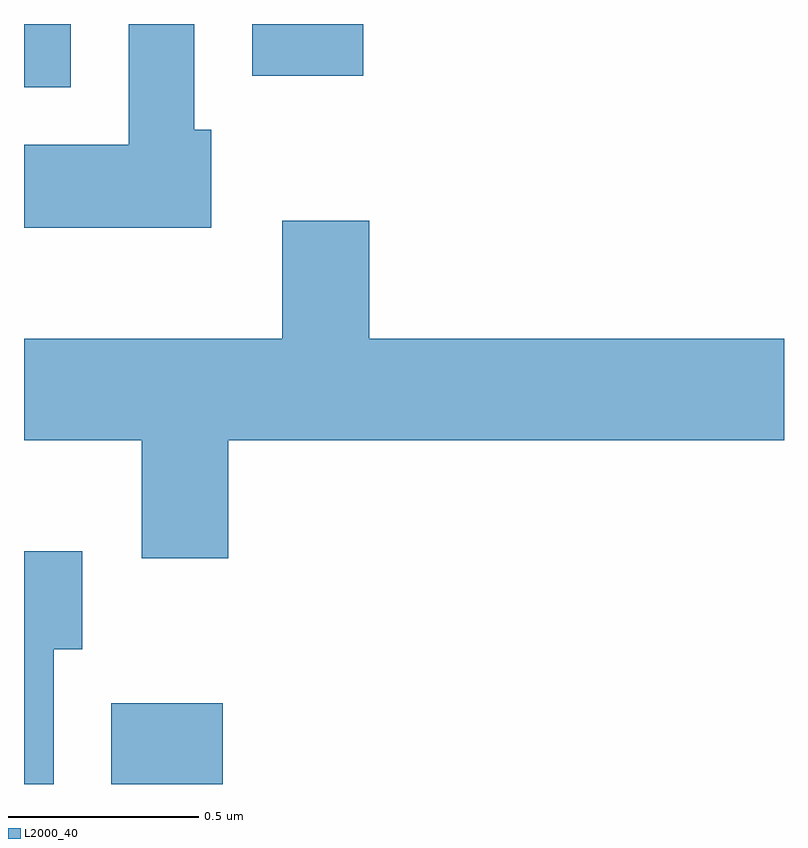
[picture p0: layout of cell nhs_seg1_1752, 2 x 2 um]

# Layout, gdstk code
import gdstk
lib = gdstk.Library(unit=1e-6, precision=1e-09)
def R(c, l, rs):  # rectangles x0, y0, x1, y1
    for r in rs: c.add(gdstk.rectangle(r[:2], r[2:], *l))
def P(c, l, *ps):  # polygons
    for p in ps: c.add(gdstk.Polygon(p, *l))
L2000_40 = (2000, 40)

nhs_seg1_1752 = lib.new_cell('nhs_seg1_1752')
R(nhs_seg1_1752, L2000_40, [(197.841,969.712,198.134,969.924), (197.611,971.546,197.734,971.712), (198.211,971.576,198.504,971.712)])
P(nhs_seg1_1752, L2000_40, [(198.104,971.434),(198.059,971.434),(198.059,971.712),(197.886,971.712),(197.886,971.394),(197.611,971.394),(197.611,971.176),(198.104,971.176)],
  [(198.149,970.616),(199.611,970.616),(199.611,970.884),(198.519,970.884),(198.519,971.194),(198.291,971.194),(198.291,970.884),(197.611,970.884),(197.611,970.616),(197.921,970.616),(197.921,970.306),(198.149,970.306)],
  [(197.689,970.066),(197.764,970.066),(197.764,970.324),(197.611,970.324),(197.611,969.712),(197.689,969.712)])

lib.write_gds('nhs_seg1_1752.gds')
